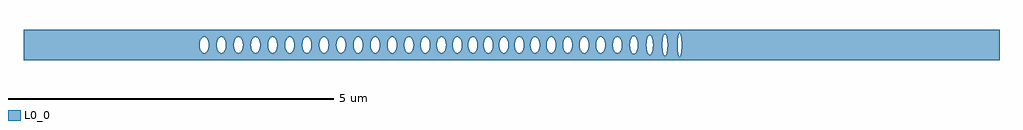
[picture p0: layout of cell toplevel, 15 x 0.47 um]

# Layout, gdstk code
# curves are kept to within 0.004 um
import gdstk
lib = gdstk.Library(unit=1e-6, precision=1e-09)
def P(c, l, *ps):  # polygons
    for p in ps: c.add(gdstk.Polygon(p, *l))
L0_0 = (0, 0)

toplevel = lib.new_cell('toplevel')
P(toplevel, L0_0, [(-4.245,-0.235),(-4.245,-0.09),(-4.259,-0.06),(-4.267,-0.016),(-4.261,0.053),(-4.245,0.09),(-4.245,0.235),(-7.5,0.235),(-7.5,-0.016),(-4.793,-0.016),(-4.79,0.038),(-4.78,0.073),(-4.757,0.109),(-4.727,0.124),(-4.701,0.118),(-4.671,0.085),(-4.654,0.031),(-4.653,-0.016),(-4.53,-0.016),(-4.527,0.038),(-4.517,0.073),(-4.494,0.109),(-4.464,0.124),(-4.438,0.118),(-4.411,0.09),(-4.394,0.046),(-4.389,0.008),(-4.391,-0.031),(-4.405,-0.079),(-4.426,-0.109),(-4.455,-0.124),(-4.481,-0.118),(-4.505,-0.096),(-4.517,-0.073),(-4.53,-0.016),(-4.653,-0.016),(-4.657,-0.046),(-4.674,-0.09),(-4.689,-0.109),(-4.718,-0.124),(-4.744,-0.118),(-4.768,-0.096),(-4.78,-0.073),(-4.793,-0.016),(-7.5,-0.016),(-7.5,-0.235)],
  [(-4.238,0.1),(-4.219,0.118),(-4.201,0.124),(-4.179,0.12),(-4.159,0.105),(-4.145,0.085),(-4.131,0.046),(-4.127,-0.016),(-4.004,-0.016),(-3.998,0.053),(-3.979,0.096),(-3.956,0.118),(-3.921,0.122),(-3.896,0.105),(-3.877,0.073),(-3.863,0),(-3.868,-0.046),(-3.883,-0.085),(-3.9,-0.109),(-3.929,-0.124),(-3.956,-0.118),(-3.979,-0.096),(-3.996,-0.06),(-4.004,-0.016),(-4.127,-0.016),(-4.145,-0.085),(-4.175,-0.118),(-4.192,-0.124),(-4.21,-0.122),(-4.231,-0.109),(-4.245,-0.09),(-4.245,-0.235),(-3.658,-0.235),(-3.658,-0.122),(-3.684,-0.122),(-3.709,-0.105),(-3.733,-0.06),(-3.741,-0.016),(-3.735,0.053),(-3.716,0.096),(-3.693,0.118),(-3.658,0.122),(-3.658,0.235),(-4.245,0.235),(-4.245,0.09)],
  [(-3.658,0.235),(-3.658,0.122),(-3.633,0.105),(-3.614,0.073),(-3.605,0.046),(-3.601,0),(-3.479,0),(-3.474,0.046),(-3.459,0.085),(-3.442,0.109),(-3.412,0.124),(-3.386,0.118),(-3.363,0.096),(-3.346,0.06),(-3.338,0.016),(-3.341,-0.038),(-3.351,-0.073),(-3.374,-0.109),(-3.404,-0.124),(-3.43,-0.118),(-3.453,-0.096),(-3.474,-0.046),(-3.479,0),(-3.601,0),(-3.605,-0.046),(-3.614,-0.073),(-3.633,-0.105),(-3.658,-0.122),(-3.658,-0.235),(-3.083,-0.235),(-3.083,-0.06),(-3.111,-0.109),(-3.136,-0.123),(-3.163,-0.12),(-3.183,-0.105),(-3.202,-0.073),(-3.216,0),(-3.202,0.073),(-3.183,0.105),(-3.163,0.12),(-3.141,0.124),(-3.123,0.118),(-3.1,0.096),(-3.083,0.06),(-3.083,0.235)],
  [(-3.076,-0.023),(-3.083,-0.06),(-3.083,-0.235),(-2.426,-0.235),(-2.426,0.235),(-3.083,0.235),(-3.083,0.059),(-3.075,-0.008),(-2.953,-0.008),(-2.948,0.046),(-2.937,0.079),(-2.916,0.109),(-2.887,0.124),(-2.86,0.118),(-2.837,0.096),(-2.818,0.053),(-2.812,-0.008),(-2.69,-0.008),(-2.685,0.046),(-2.661,0.1),(-2.641,0.118),(-2.624,0.124),(-2.593,0.115),(-2.574,0.096),(-2.562,0.073),(-2.552,0.038),(-2.549,-0.017),(-2.568,-0.085),(-2.585,-0.109),(-2.606,-0.122),(-2.633,-0.122),(-2.664,-0.096),(-2.681,-0.06),(-2.69,-0.008),(-2.812,-0.008),(-2.818,-0.053),(-2.837,-0.096),(-2.86,-0.118),(-2.878,-0.124),(-2.904,-0.118),(-2.927,-0.096),(-2.944,-0.06),(-2.953,-0.008),(-3.075,-0.008)],
  [(-2.423,0.038),(-2.411,0.079),(-2.394,0.105),(-2.37,0.122),(-2.352,0.124),(-2.322,0.109),(-2.299,0.073),(-2.289,0.038),(-2.286,-0.016),(-2.164,-0.016),(-2.16,0.046),(-2.145,0.085),(-2.116,0.118),(-2.09,0.124),(-2.06,0.109),(-2.037,0.073),(-2.027,0.038),(-2.024,-0.016),(-2.032,-0.06),(-2.049,-0.096),(-2.072,-0.118),(-2.09,-0.124),(-2.116,-0.118),(-2.139,-0.096),(-2.156,-0.06),(-2.164,-0.016),(-2.286,-0.016),(-2.299,-0.073),(-2.311,-0.096),(-2.33,-0.115),(-2.352,-0.124),(-2.378,-0.118),(-2.398,-0.1),(-2.416,-0.066),(-2.426,-0.026),(-2.426,-0.235),(-1.855,-0.235),(-1.855,-0.118),(-1.879,-0.096),(-1.891,-0.073),(-1.904,-0.016),(-1.901,0.038),(-1.891,0.073),(-1.879,0.096),(-1.855,0.118),(-1.855,0.235),(-2.426,0.235)],
  [(-1.394,0.016),(-1.379,0.079),(-1.358,0.109),(-1.338,0.122),(-1.32,0.124),(-1.298,0.115),(-1.283,0.1),(-1.283,0.235),(-1.855,0.235),(-1.855,0.118),(-1.838,0.124),(-1.82,0.122),(-1.789,0.096),(-1.768,0.046),(-1.764,-0.016),(-1.647,-0.016),(-1.644,0.038),(-1.634,0.073),(-1.611,0.109),(-1.581,0.124),(-1.555,0.118),(-1.532,0.096),(-1.515,0.06),(-1.506,0.008),(-1.511,-0.046),(-1.525,-0.085),(-1.543,-0.109),(-1.572,-0.124),(-1.599,-0.118),(-1.622,-0.096),(-1.639,-0.06),(-1.647,-0.016),(-1.764,-0.016),(-1.774,-0.066),(-1.796,-0.105),(-1.829,-0.124),(-1.855,-0.118),(-1.855,-0.235),(-1.283,-0.235),(-1.283,-0.1),(-1.298,-0.115),(-1.32,-0.124),(-1.338,-0.122),(-1.362,-0.105),(-1.379,-0.079),(-1.39,-0.046)],
  [(-0.664,-0.016),(-0.663,0.235),(-1.283,0.235),(-1.283,0.1),(-1.259,0.046),(-1.254,-0.016),(-1.147,-0.016),(-1.144,0.038),(-1.134,0.073),(-1.111,0.109),(-1.081,0.124),(-1.055,0.118),(-1.025,0.085),(-1.011,0.046),(-1.006,-0.008),(-0.904,-0.008),(-0.902,0.031),(-0.888,0.079),(-0.867,0.109),(-0.838,0.124),(-0.812,0.118),(-0.788,0.096),(-0.776,0.073),(-0.763,0.016),(-0.766,-0.038),(-0.776,-0.073),(-0.799,-0.109),(-0.829,-0.124),(-0.855,-0.118),(-0.882,-0.09),(-0.899,-0.046),(-0.904,-0.008),(-1.006,-0.008),(-1.011,-0.046),(-1.025,-0.085),(-1.043,-0.109),(-1.072,-0.124),(-1.098,-0.118),(-1.122,-0.096),(-1.134,-0.073),(-1.147,-0.016),(-1.254,-0.016),(-1.267,-0.073),(-1.283,-0.1),(-1.283,-0.235),(-0.663,-0.235)],
  [(-0.188,0.023),(-0.176,0.073),(-0.16,0.1),(-0.16,0.235),(-0.663,0.235),(-0.663,0.023),(-0.651,0.073),(-0.639,0.096),(-0.615,0.118),(-0.589,0.124),(-0.56,0.109),(-0.539,0.079),(-0.525,0.031),(-0.524,-0.016),(-0.426,-0.016),(-0.423,0.038),(-0.407,0.085),(-0.378,0.118),(-0.351,0.124),(-0.322,0.109),(-0.304,0.085),(-0.29,0.046),(-0.285,0),(-0.29,-0.046),(-0.304,-0.085),(-0.322,-0.109),(-0.351,-0.124),(-0.378,-0.118),(-0.401,-0.096),(-0.418,-0.06),(-0.426,-0.016),(-0.524,-0.016),(-0.528,-0.046),(-0.545,-0.09),(-0.56,-0.109),(-0.589,-0.124),(-0.615,-0.118),(-0.639,-0.096),(-0.663,-0.026),(-0.663,-0.235),(-0.16,-0.235),(-0.16,-0.1),(-0.176,-0.073),(-0.186,-0.038)],
  [(-0.153,0.109),(-0.132,0.122),(-0.114,0.124),(-0.081,0.105),(-0.057,0.06),(-0.048,0),(0.049,0),(0.054,0.046),(0.075,0.096),(0.102,0.12),(0.133,0.122),(0.158,0.105),(0.177,0.073),(0.187,0.038),(0.19,-0.016),(0.182,-0.06),(0.165,-0.096),(0.142,-0.118),(0.115,-0.124),(0.086,-0.109),(0.069,-0.085),(0.054,-0.046),(0.049,0),(-0.048,0),(-0.059,-0.066),(-0.085,-0.109),(-0.105,-0.122),(-0.123,-0.124),(-0.145,-0.115),(-0.16,-0.1),(-0.16,-0.235),(0.376,-0.235),(0.376,-0.122),(0.349,-0.122),(0.318,-0.096),(0.301,-0.06),(0.292,-0.008),(0.297,0.046),(0.314,0.09),(0.341,0.118),(0.358,0.124),(0.376,0.122),(0.376,0.235),(-0.16,0.235),(-0.16,0.1)],
  [(0.376,0.235),(0.376,0.122),(0.4,0.105),(0.42,0.073),(0.433,0),(0.54,0),(0.545,0.046),(0.559,0.085),(0.577,0.109),(0.606,0.124),(0.633,0.118),(0.656,0.096),(0.673,0.06),(0.681,0.016),(0.678,-0.038),(0.668,-0.073),(0.645,-0.109),(0.615,-0.124),(0.589,-0.118),(0.559,-0.085),(0.545,-0.046),(0.54,0),(0.433,0),(0.42,-0.073),(0.4,-0.105),(0.376,-0.122),(0.376,-0.235),(0.925,-0.235),(0.925,-0.06),(0.897,-0.109),(0.876,-0.122),(0.85,-0.122),(0.829,-0.109),(0.812,-0.085),(0.793,-0.016),(0.796,0.038),(0.806,0.073),(0.818,0.096),(0.841,0.118),(0.859,0.124),(0.885,0.118),(0.908,0.096),(0.925,0.06),(0.925,0.235)],
  [(1.558,0.023),(1.565,0.059),(1.565,0.235),(0.925,0.235),(0.925,0.059),(0.933,-0.016),(1.047,-0.016),(1.051,0.046),(1.06,0.073),(1.083,0.109),(1.113,0.124),(1.139,0.118),(1.162,0.096),(1.181,0.053),(1.187,-0.008),(1.3,-0.008),(1.302,0.031),(1.316,0.079),(1.337,0.109),(1.366,0.124),(1.392,0.118),(1.416,0.096),(1.428,0.073),(1.441,0.016),(1.438,-0.038),(1.428,-0.073),(1.405,-0.109),(1.375,-0.124),(1.349,-0.118),(1.322,-0.09),(1.305,-0.046),(1.3,-0.008),(1.187,-0.008),(1.181,-0.053),(1.162,-0.096),(1.139,-0.118),(1.121,-0.124),(1.095,-0.118),(1.072,-0.096),(1.055,-0.06),(1.047,-0.016),(0.933,-0.016),(0.925,-0.06),(0.925,-0.235),(1.565,-0.235),(1.565,-0.06),(1.557,-0.016)],
  [(1.567,0.066),(1.593,0.109),(1.614,0.122),(1.64,0.122),(1.665,0.105),(1.684,0.073),(1.697,0),(1.82,0),(1.826,0.059),(1.842,0.106),(1.866,0.134),(1.885,0.138),(1.907,0.125),(1.928,0.088),(1.942,0),(1.928,-0.088),(1.907,-0.125),(1.885,-0.138),(1.866,-0.134),(1.842,-0.106),(1.826,-0.059),(1.82,0),(1.697,0),(1.684,-0.073),(1.665,-0.105),(1.636,-0.123),(1.614,-0.122),(1.593,-0.109),(1.565,-0.06),(1.565,-0.235),(2.106,-0.235),(2.106,-0.141),(2.085,-0.097),(2.074,-0.019),(2.08,0.073),(2.092,0.117),(2.106,0.141),(2.106,0.235),(1.565,0.235)],
  [(2.118,0.151),(2.131,0.151),(2.146,0.138),(2.164,0.097),(2.174,0.038),(2.174,-0.031),(2.317,-0.031),(2.324,0.098),(2.342,0.154),(2.36,0.166),(2.375,0.15),(2.389,0.106),(2.397,0.041),(2.397,-0.034),(2.553,-0.034),(2.558,0.106),(2.57,0.163),(2.585,0.18),(2.597,0.163),(2.606,0.123),(2.614,-0.034),(2.602,-0.146),(2.593,-0.171),(2.581,-0.18),(2.57,-0.163),(2.562,-0.131),(2.553,-0.034),(2.397,-0.034),(2.383,-0.128),(2.37,-0.158),(2.355,-0.166),(2.342,-0.154),(2.331,-0.128),(2.317,-0.031),(2.174,-0.031),(2.164,-0.097),(2.146,-0.138),(2.128,-0.152),(2.106,-0.141),(2.106,-0.235),(7.5,-0.235),(7.5,0.235),(2.106,0.235),(2.106,0.141)])

lib.write_gds('toplevel.gds')
